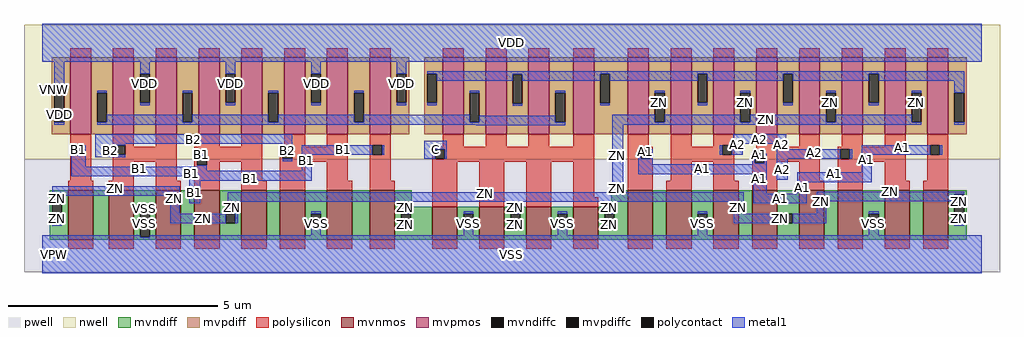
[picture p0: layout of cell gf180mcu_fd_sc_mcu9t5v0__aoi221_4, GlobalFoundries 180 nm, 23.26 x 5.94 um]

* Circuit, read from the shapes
.subckt gf180mcu_fd_sc_mcu9t5v0__aoi221_4 A1 A2 B1 B2 C ZN VDD VNW VPW VSS
XM1 n1 B1 ZN VPW nfet_06v0 w=1.185u l=0.6u
XM2 VSS B2 n1 VPW nfet_06v0 w=1.185u l=0.6u
XM3 n2 B2 VSS VPW nfet_06v0 w=1.185u l=0.6u
XM4 ZN B1 n2 VPW nfet_06v0 w=1.185u l=0.6u
XM5 n3 B1 ZN VPW nfet_06v0 w=1.185u l=0.6u
XM6 VSS B2 n3 VPW nfet_06v0 w=1.185u l=0.6u
XM7 n4 B2 VSS VPW nfet_06v0 w=1.185u l=0.6u
XM8 ZN B1 n4 VPW nfet_06v0 w=1.185u l=0.6u
XM9 VSS C ZN VPW nfet_06v0 w=0.79u l=0.6u m=4
XM10 n5 A1 ZN VPW nfet_06v0 w=1.185u l=0.6u
XM11 VSS A2 n5 VPW nfet_06v0 w=1.185u l=0.6u
XM12 n6 A2 VSS VPW nfet_06v0 w=1.185u l=0.6u
XM13 ZN A1 n6 VPW nfet_06v0 w=1.185u l=0.6u
XM14 n7 A1 ZN VPW nfet_06v0 w=1.185u l=0.6u
XM15 VSS A2 n7 VPW nfet_06v0 w=1.185u l=0.6u
XM16 n8 A2 VSS VPW nfet_06v0 w=1.185u l=0.6u
XM17 ZN A1 n8 VPW nfet_06v0 w=1.185u l=0.6u
XM18 n9 B1 VDD VNW pfet_06v0 w=1.83u l=0.5u m=4
XM19 VDD B2 n9 VNW pfet_06v0 w=1.83u l=0.5u m=4
XM20 n9 C n10 VNW pfet_06v0 w=1.83u l=0.5u m=4
XM21 ZN A1 n10 VNW pfet_06v0 w=1.83u l=0.5u m=4
XM22 n10 A2 ZN VNW pfet_06v0 w=1.83u l=0.5u m=4
.ends

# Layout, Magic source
magic
tech gf180mcuD
magscale 1 10
<< nwell >>
rect -86 453 4566 1094
<< pwell >>
rect -86 -86 4566 453
<< mvnmos >>
rect 124 69 244 306
rect 318 69 438 306
rect 542 69 662 306
rect 726 69 846 306
rect 950 69 1070 306
rect 1134 69 1254 306
rect 1358 69 1478 306
rect 1562 69 1682 306
rect 1860 69 1980 227
rect 2084 69 2204 227
rect 2308 69 2428 227
rect 2532 69 2652 227
rect 2792 69 2912 306
rect 2976 69 3096 306
rect 3200 69 3320 306
rect 3384 69 3504 306
rect 3608 69 3728 306
rect 3792 69 3912 306
rect 4016 69 4136 306
rect 4200 69 4320 306
<< mvpmos >>
rect 134 573 234 939
rect 338 573 438 939
rect 542 573 642 939
rect 746 573 846 939
rect 950 573 1050 939
rect 1154 573 1254 939
rect 1358 573 1458 939
rect 1562 573 1662 939
rect 1910 573 2010 939
rect 2114 573 2214 939
rect 2318 573 2418 939
rect 2532 573 2632 939
rect 2792 573 2892 939
rect 2996 573 3096 939
rect 3200 573 3300 939
rect 3404 573 3504 939
rect 3608 573 3708 939
rect 3812 573 3912 939
rect 4016 573 4116 939
rect 4220 573 4320 939
<< mvndiff >>
rect 36 287 124 306
rect 36 147 49 287
rect 95 147 124 287
rect 36 69 124 147
rect 244 69 318 306
rect 438 222 542 306
rect 438 82 467 222
rect 513 82 542 222
rect 438 69 542 82
rect 662 69 726 306
rect 846 193 950 306
rect 846 147 875 193
rect 921 147 950 193
rect 846 69 950 147
rect 1070 69 1134 306
rect 1254 193 1358 306
rect 1254 147 1283 193
rect 1329 147 1358 193
rect 1254 69 1358 147
rect 1478 69 1562 306
rect 1682 227 1762 306
rect 2712 227 2792 306
rect 1682 193 1860 227
rect 1682 147 1711 193
rect 1757 147 1860 193
rect 1682 69 1860 147
rect 1980 193 2084 227
rect 1980 147 2009 193
rect 2055 147 2084 193
rect 1980 69 2084 147
rect 2204 193 2308 227
rect 2204 147 2233 193
rect 2279 147 2308 193
rect 2204 69 2308 147
rect 2428 193 2532 227
rect 2428 147 2457 193
rect 2503 147 2532 193
rect 2428 69 2532 147
rect 2652 193 2792 227
rect 2652 147 2681 193
rect 2727 147 2792 193
rect 2652 69 2792 147
rect 2912 69 2976 306
rect 3096 193 3200 306
rect 3096 147 3125 193
rect 3171 147 3200 193
rect 3096 69 3200 147
rect 3320 69 3384 306
rect 3504 193 3608 306
rect 3504 147 3533 193
rect 3579 147 3608 193
rect 3504 69 3608 147
rect 3728 69 3792 306
rect 3912 193 4016 306
rect 3912 147 3941 193
rect 3987 147 4016 193
rect 3912 69 4016 147
rect 4136 69 4200 306
rect 4320 287 4408 306
rect 4320 147 4349 287
rect 4395 147 4408 287
rect 4320 69 4408 147
<< mvpdiff >>
rect 46 769 134 939
rect 46 629 59 769
rect 105 629 134 769
rect 46 573 134 629
rect 234 769 338 939
rect 234 629 263 769
rect 309 629 338 769
rect 234 573 338 629
rect 438 861 542 939
rect 438 721 467 861
rect 513 721 542 861
rect 438 573 542 721
rect 642 769 746 939
rect 642 629 671 769
rect 717 629 746 769
rect 642 573 746 629
rect 846 861 950 939
rect 846 721 875 861
rect 921 721 950 861
rect 846 573 950 721
rect 1050 769 1154 939
rect 1050 629 1079 769
rect 1125 629 1154 769
rect 1050 573 1154 629
rect 1254 861 1358 939
rect 1254 721 1283 861
rect 1329 721 1358 861
rect 1254 573 1358 721
rect 1458 769 1562 939
rect 1458 629 1487 769
rect 1533 629 1562 769
rect 1458 573 1562 629
rect 1662 861 1750 939
rect 1662 721 1691 861
rect 1737 721 1750 861
rect 1662 573 1750 721
rect 1822 861 1910 939
rect 1822 721 1835 861
rect 1881 721 1910 861
rect 1822 573 1910 721
rect 2010 769 2114 939
rect 2010 629 2039 769
rect 2085 629 2114 769
rect 2010 573 2114 629
rect 2214 858 2318 939
rect 2214 718 2243 858
rect 2289 718 2318 858
rect 2214 573 2318 718
rect 2418 769 2532 939
rect 2418 629 2447 769
rect 2493 629 2532 769
rect 2418 573 2532 629
rect 2632 860 2792 939
rect 2632 720 2661 860
rect 2707 720 2792 860
rect 2632 573 2792 720
rect 2892 769 2996 939
rect 2892 629 2921 769
rect 2967 629 2996 769
rect 2892 573 2996 629
rect 3096 861 3200 939
rect 3096 721 3125 861
rect 3171 721 3200 861
rect 3096 573 3200 721
rect 3300 769 3404 939
rect 3300 629 3329 769
rect 3375 629 3404 769
rect 3300 573 3404 629
rect 3504 861 3608 939
rect 3504 721 3533 861
rect 3579 721 3608 861
rect 3504 573 3608 721
rect 3708 769 3812 939
rect 3708 629 3737 769
rect 3783 629 3812 769
rect 3708 573 3812 629
rect 3912 861 4016 939
rect 3912 721 3941 861
rect 3987 721 4016 861
rect 3912 573 4016 721
rect 4116 769 4220 939
rect 4116 629 4145 769
rect 4191 629 4220 769
rect 4116 573 4220 629
rect 4320 769 4408 939
rect 4320 629 4349 769
rect 4395 629 4408 769
rect 4320 573 4408 629
<< mvndiffc >>
rect 49 147 95 287
rect 467 82 513 222
rect 875 147 921 193
rect 1283 147 1329 193
rect 1711 147 1757 193
rect 2009 147 2055 193
rect 2233 147 2279 193
rect 2457 147 2503 193
rect 2681 147 2727 193
rect 3125 147 3171 193
rect 3533 147 3579 193
rect 3941 147 3987 193
rect 4349 147 4395 287
<< mvpdiffc >>
rect 59 629 105 769
rect 263 629 309 769
rect 467 721 513 861
rect 671 629 717 769
rect 875 721 921 861
rect 1079 629 1125 769
rect 1283 721 1329 861
rect 1487 629 1533 769
rect 1691 721 1737 861
rect 1835 721 1881 861
rect 2039 629 2085 769
rect 2243 718 2289 858
rect 2447 629 2493 769
rect 2661 720 2707 860
rect 2921 629 2967 769
rect 3125 721 3171 861
rect 3329 629 3375 769
rect 3533 721 3579 861
rect 3737 629 3783 769
rect 3941 721 3987 861
rect 4145 629 4191 769
rect 4349 629 4395 769
<< polysilicon >>
rect 134 939 234 983
rect 338 939 438 983
rect 542 939 642 983
rect 746 939 846 983
rect 950 939 1050 983
rect 1154 939 1254 983
rect 1358 939 1458 983
rect 1562 939 1662 983
rect 1910 939 2010 983
rect 2114 939 2214 983
rect 2318 939 2418 983
rect 2532 939 2632 983
rect 2792 939 2892 983
rect 2996 939 3096 983
rect 3200 939 3300 983
rect 3404 939 3504 983
rect 3608 939 3708 983
rect 3812 939 3912 983
rect 4016 939 4116 983
rect 4220 939 4320 983
rect 134 520 234 573
rect 134 474 151 520
rect 197 474 234 520
rect 134 350 234 474
rect 338 520 438 573
rect 338 474 351 520
rect 397 513 438 520
rect 542 513 642 573
rect 746 513 846 573
rect 950 513 1050 573
rect 1154 513 1254 573
rect 1358 513 1458 573
rect 397 474 642 513
rect 338 441 642 474
rect 338 350 438 441
rect 124 306 244 350
rect 318 306 438 350
rect 542 350 642 441
rect 726 469 1050 513
rect 726 423 739 469
rect 785 441 1050 469
rect 785 423 846 441
rect 542 306 662 350
rect 726 306 846 423
rect 950 350 1050 441
rect 1134 500 1458 513
rect 1134 454 1147 500
rect 1193 454 1458 500
rect 1134 441 1458 454
rect 950 306 1070 350
rect 1134 306 1254 441
rect 1358 350 1458 441
rect 1562 520 1662 573
rect 1562 474 1575 520
rect 1621 474 1662 520
rect 1910 513 2010 573
rect 2114 513 2214 573
rect 2318 513 2418 573
rect 2532 513 2632 573
rect 1562 350 1662 474
rect 1860 500 2632 513
rect 1860 454 1873 500
rect 1919 454 2632 500
rect 1860 441 2632 454
rect 1358 306 1478 350
rect 1562 306 1682 350
rect 1860 227 1980 441
rect 2084 227 2204 441
rect 2308 227 2428 441
rect 2532 271 2632 441
rect 2792 513 2892 573
rect 2996 513 3096 573
rect 3200 520 3300 573
rect 3200 513 3241 520
rect 2792 500 2912 513
rect 2792 454 2853 500
rect 2899 454 2912 500
rect 2792 306 2912 454
rect 2996 474 3241 513
rect 3287 474 3300 520
rect 3404 513 3504 573
rect 3608 513 3708 573
rect 3812 513 3912 573
rect 4016 513 4116 573
rect 3404 493 3708 513
rect 2996 441 3300 474
rect 2996 350 3096 441
rect 2976 306 3096 350
rect 3200 350 3300 441
rect 3384 480 3708 493
rect 3384 434 3397 480
rect 3443 441 3708 480
rect 3443 434 3504 441
rect 3200 306 3320 350
rect 3384 306 3504 434
rect 3608 350 3708 441
rect 3792 500 4116 513
rect 3792 454 3805 500
rect 3851 454 4116 500
rect 3792 441 4116 454
rect 3608 306 3728 350
rect 3792 306 3912 441
rect 4016 350 4116 441
rect 4220 520 4320 573
rect 4220 474 4233 520
rect 4279 474 4320 520
rect 4220 350 4320 474
rect 4016 306 4136 350
rect 4200 306 4320 350
rect 2532 227 2652 271
rect 124 25 244 69
rect 318 25 438 69
rect 542 25 662 69
rect 726 25 846 69
rect 950 25 1070 69
rect 1134 25 1254 69
rect 1358 25 1478 69
rect 1562 25 1682 69
rect 1860 25 1980 69
rect 2084 25 2204 69
rect 2308 25 2428 69
rect 2532 25 2652 69
rect 2792 25 2912 69
rect 2976 25 3096 69
rect 3200 25 3320 69
rect 3384 25 3504 69
rect 3608 25 3728 69
rect 3792 25 3912 69
rect 4016 25 4136 69
rect 4200 25 4320 69
<< polycontact >>
rect 151 474 197 520
rect 351 474 397 520
rect 739 423 785 469
rect 1147 454 1193 500
rect 1575 474 1621 520
rect 1873 454 1919 500
rect 2853 454 2899 500
rect 3241 474 3287 520
rect 3397 434 3443 480
rect 3805 454 3851 500
rect 4233 474 4279 520
<< metal1 >>
rect 0 918 4480 1098
rect 59 769 105 918
rect 467 861 513 918
rect 59 618 105 629
rect 263 769 309 780
rect 875 861 921 918
rect 467 710 513 721
rect 671 769 717 780
rect 309 629 671 664
rect 1283 861 1329 918
rect 875 710 921 721
rect 1079 769 1125 780
rect 717 629 1079 664
rect 1691 861 1737 918
rect 1283 710 1329 721
rect 1487 769 1533 780
rect 1125 629 1487 664
rect 1691 710 1737 721
rect 1835 861 4395 872
rect 1881 860 3125 861
rect 1881 858 2661 860
rect 1881 826 2243 858
rect 1835 710 1881 721
rect 2039 769 2085 780
rect 1533 629 2039 664
rect 2289 826 2661 858
rect 2243 707 2289 718
rect 2447 769 2493 780
rect 2085 629 2447 661
rect 2707 826 3125 860
rect 2661 709 2707 720
rect 2921 769 2967 780
rect 263 618 2493 629
rect 2068 615 2493 618
rect 2718 629 2921 664
rect 3171 826 3533 861
rect 3125 710 3171 721
rect 3329 769 3375 780
rect 2967 629 3329 664
rect 3579 826 3941 861
rect 3533 710 3579 721
rect 3737 769 3783 780
rect 3375 629 3737 664
rect 3987 826 4395 861
rect 3941 710 3987 721
rect 4145 769 4191 780
rect 3783 629 4145 664
rect 2718 618 4191 629
rect 4349 769 4395 826
rect 4349 618 4395 629
rect 254 526 1193 572
rect 254 520 397 526
rect 140 474 151 520
rect 197 474 208 520
rect 140 417 208 474
rect 254 474 351 520
rect 1147 500 1193 526
rect 254 463 397 474
rect 739 469 785 480
rect 1147 443 1193 454
rect 1239 474 1575 520
rect 1621 474 1632 520
rect 1822 500 1930 542
rect 739 417 785 423
rect 140 397 785 417
rect 1239 397 1285 474
rect 1822 454 1873 500
rect 1919 454 1930 500
rect 140 371 1285 397
rect 702 351 1285 371
rect 49 287 656 325
rect 95 279 656 287
rect 49 136 95 147
rect 467 222 513 233
rect 0 82 467 90
rect 610 193 656 279
rect 702 242 754 351
rect 2718 296 2770 618
rect 3294 526 3548 572
rect 3294 520 3340 526
rect 2842 454 2853 500
rect 2899 454 2910 500
rect 3230 474 3241 520
rect 3287 474 3340 520
rect 3502 500 3548 526
rect 2842 428 2910 454
rect 3386 434 3397 480
rect 3443 434 3454 480
rect 3386 428 3454 434
rect 2842 382 3454 428
rect 886 250 3344 296
rect 886 193 932 250
rect 610 147 875 193
rect 921 147 932 193
rect 1283 193 1329 204
rect 1283 90 1329 147
rect 1711 193 1757 250
rect 1711 136 1757 147
rect 2009 193 2055 204
rect 2009 90 2055 147
rect 2233 193 2279 250
rect 2233 136 2279 147
rect 2457 193 2503 204
rect 2457 90 2503 147
rect 2681 193 2727 250
rect 2681 136 2727 147
rect 3125 193 3171 204
rect 3298 193 3344 250
rect 3390 288 3454 382
rect 3502 454 3805 500
rect 3851 454 3862 500
rect 3908 474 4233 520
rect 4279 474 4290 520
rect 3502 354 3554 454
rect 3908 390 3954 474
rect 3600 344 3954 390
rect 3600 288 3646 344
rect 3390 242 3646 288
rect 3692 287 4395 298
rect 3692 252 4349 287
rect 3692 193 3738 252
rect 3298 147 3533 193
rect 3579 147 3738 193
rect 3941 193 3987 204
rect 3125 90 3171 147
rect 3941 90 3987 147
rect 4349 136 4395 147
rect 513 82 4480 90
rect 0 -90 4480 82
<< labels >>
flabel metal1 s 3908 500 4290 520 0 FreeSans 200 0 0 0 A1
port 1 nsew default input
flabel metal1 s 3294 526 3548 572 0 FreeSans 200 0 0 0 A2
port 2 nsew default input
flabel metal1 s 1239 480 1632 520 0 FreeSans 200 0 0 0 B1
port 3 nsew default input
flabel metal1 s 254 526 1193 572 0 FreeSans 200 0 0 0 B2
port 4 nsew default input
flabel metal1 s 1822 454 1930 542 0 FreeSans 200 0 0 0 C
port 5 nsew default input
flabel metal1 s 0 918 4480 1098 0 FreeSans 200 0 0 0 VDD
port 7 nsew power bidirectional abutment
flabel metal1 s 467 204 513 233 0 FreeSans 200 0 0 0 VSS
port 10 nsew ground bidirectional abutment
flabel metal1 s 4145 664 4191 780 0 FreeSans 200 0 0 0 ZN
port 6 nsew default output
flabel nwell s 10 734 110 834 0 FreeSans 400 0 0 0 VNW
port 8 nsew power bidirectional
flabel pwell s 10 -50 110 50 0 FreeSans 400 0 0 0 VPW
port 9 nsew ground bidirectional
rlabel metal1 s 3908 480 4290 500 1 A1
port 1 nsew default input
rlabel metal1 s 2842 480 2910 500 1 A1
port 1 nsew default input
rlabel metal1 s 3908 474 4290 480 1 A1
port 1 nsew default input
rlabel metal1 s 3386 474 3454 480 1 A1
port 1 nsew default input
rlabel metal1 s 2842 474 2910 480 1 A1
port 1 nsew default input
rlabel metal1 s 3908 428 3954 474 1 A1
port 1 nsew default input
rlabel metal1 s 3386 428 3454 474 1 A1
port 1 nsew default input
rlabel metal1 s 2842 428 2910 474 1 A1
port 1 nsew default input
rlabel metal1 s 3908 390 3954 428 1 A1
port 1 nsew default input
rlabel metal1 s 2842 390 3454 428 1 A1
port 1 nsew default input
rlabel metal1 s 3600 382 3954 390 1 A1
port 1 nsew default input
rlabel metal1 s 2842 382 3454 390 1 A1
port 1 nsew default input
rlabel metal1 s 3600 344 3954 382 1 A1
port 1 nsew default input
rlabel metal1 s 3390 344 3454 382 1 A1
port 1 nsew default input
rlabel metal1 s 3600 288 3646 344 1 A1
port 1 nsew default input
rlabel metal1 s 3390 288 3454 344 1 A1
port 1 nsew default input
rlabel metal1 s 3390 242 3646 288 1 A1
port 1 nsew default input
rlabel metal1 s 3502 520 3548 526 1 A2
port 2 nsew default input
rlabel metal1 s 3294 520 3340 526 1 A2
port 2 nsew default input
rlabel metal1 s 3502 500 3548 520 1 A2
port 2 nsew default input
rlabel metal1 s 3230 500 3340 520 1 A2
port 2 nsew default input
rlabel metal1 s 3502 474 3862 500 1 A2
port 2 nsew default input
rlabel metal1 s 3230 474 3340 500 1 A2
port 2 nsew default input
rlabel metal1 s 3502 454 3862 474 1 A2
port 2 nsew default input
rlabel metal1 s 3502 354 3554 454 1 A2
port 2 nsew default input
rlabel metal1 s 140 480 208 520 1 B1
port 3 nsew default input
rlabel metal1 s 1239 474 1632 480 1 B1
port 3 nsew default input
rlabel metal1 s 739 474 785 480 1 B1
port 3 nsew default input
rlabel metal1 s 140 474 208 480 1 B1
port 3 nsew default input
rlabel metal1 s 1239 417 1285 474 1 B1
port 3 nsew default input
rlabel metal1 s 739 417 785 474 1 B1
port 3 nsew default input
rlabel metal1 s 140 417 208 474 1 B1
port 3 nsew default input
rlabel metal1 s 1239 397 1285 417 1 B1
port 3 nsew default input
rlabel metal1 s 140 397 785 417 1 B1
port 3 nsew default input
rlabel metal1 s 140 371 1285 397 1 B1
port 3 nsew default input
rlabel metal1 s 702 351 1285 371 1 B1
port 3 nsew default input
rlabel metal1 s 702 242 754 351 1 B1
port 3 nsew default input
rlabel metal1 s 1147 463 1193 526 1 B2
port 4 nsew default input
rlabel metal1 s 254 463 397 526 1 B2
port 4 nsew default input
rlabel metal1 s 1147 443 1193 463 1 B2
port 4 nsew default input
rlabel metal1 s 3737 664 3783 780 1 ZN
port 6 nsew default output
rlabel metal1 s 3329 664 3375 780 1 ZN
port 6 nsew default output
rlabel metal1 s 2921 664 2967 780 1 ZN
port 6 nsew default output
rlabel metal1 s 2718 618 4191 664 1 ZN
port 6 nsew default output
rlabel metal1 s 2718 325 2770 618 1 ZN
port 6 nsew default output
rlabel metal1 s 2718 298 2770 325 1 ZN
port 6 nsew default output
rlabel metal1 s 49 298 656 325 1 ZN
port 6 nsew default output
rlabel metal1 s 3692 296 4395 298 1 ZN
port 6 nsew default output
rlabel metal1 s 2718 296 2770 298 1 ZN
port 6 nsew default output
rlabel metal1 s 49 296 656 298 1 ZN
port 6 nsew default output
rlabel metal1 s 3692 279 4395 296 1 ZN
port 6 nsew default output
rlabel metal1 s 886 279 3344 296 1 ZN
port 6 nsew default output
rlabel metal1 s 49 279 656 296 1 ZN
port 6 nsew default output
rlabel metal1 s 3692 252 4395 279 1 ZN
port 6 nsew default output
rlabel metal1 s 886 252 3344 279 1 ZN
port 6 nsew default output
rlabel metal1 s 610 252 656 279 1 ZN
port 6 nsew default output
rlabel metal1 s 49 252 95 279 1 ZN
port 6 nsew default output
rlabel metal1 s 4349 250 4395 252 1 ZN
port 6 nsew default output
rlabel metal1 s 3692 250 3738 252 1 ZN
port 6 nsew default output
rlabel metal1 s 886 250 3344 252 1 ZN
port 6 nsew default output
rlabel metal1 s 610 250 656 252 1 ZN
port 6 nsew default output
rlabel metal1 s 49 250 95 252 1 ZN
port 6 nsew default output
rlabel metal1 s 4349 193 4395 250 1 ZN
port 6 nsew default output
rlabel metal1 s 3692 193 3738 250 1 ZN
port 6 nsew default output
rlabel metal1 s 3298 193 3344 250 1 ZN
port 6 nsew default output
rlabel metal1 s 2681 193 2727 250 1 ZN
port 6 nsew default output
rlabel metal1 s 2233 193 2279 250 1 ZN
port 6 nsew default output
rlabel metal1 s 1711 193 1757 250 1 ZN
port 6 nsew default output
rlabel metal1 s 886 193 932 250 1 ZN
port 6 nsew default output
rlabel metal1 s 610 193 656 250 1 ZN
port 6 nsew default output
rlabel metal1 s 49 193 95 250 1 ZN
port 6 nsew default output
rlabel metal1 s 4349 147 4395 193 1 ZN
port 6 nsew default output
rlabel metal1 s 3298 147 3738 193 1 ZN
port 6 nsew default output
rlabel metal1 s 2681 147 2727 193 1 ZN
port 6 nsew default output
rlabel metal1 s 2233 147 2279 193 1 ZN
port 6 nsew default output
rlabel metal1 s 1711 147 1757 193 1 ZN
port 6 nsew default output
rlabel metal1 s 610 147 932 193 1 ZN
port 6 nsew default output
rlabel metal1 s 49 147 95 193 1 ZN
port 6 nsew default output
rlabel metal1 s 4349 136 4395 147 1 ZN
port 6 nsew default output
rlabel metal1 s 2681 136 2727 147 1 ZN
port 6 nsew default output
rlabel metal1 s 2233 136 2279 147 1 ZN
port 6 nsew default output
rlabel metal1 s 1711 136 1757 147 1 ZN
port 6 nsew default output
rlabel metal1 s 49 136 95 147 1 ZN
port 6 nsew default output
rlabel metal1 s 1691 710 1737 918 1 VDD
port 7 nsew power bidirectional abutment
rlabel metal1 s 1283 710 1329 918 1 VDD
port 7 nsew power bidirectional abutment
rlabel metal1 s 875 710 921 918 1 VDD
port 7 nsew power bidirectional abutment
rlabel metal1 s 467 710 513 918 1 VDD
port 7 nsew power bidirectional abutment
rlabel metal1 s 59 710 105 918 1 VDD
port 7 nsew power bidirectional abutment
rlabel metal1 s 59 618 105 710 1 VDD
port 7 nsew power bidirectional abutment
rlabel metal1 s 3941 90 3987 204 1 VSS
port 10 nsew ground bidirectional abutment
rlabel metal1 s 3125 90 3171 204 1 VSS
port 10 nsew ground bidirectional abutment
rlabel metal1 s 2457 90 2503 204 1 VSS
port 10 nsew ground bidirectional abutment
rlabel metal1 s 2009 90 2055 204 1 VSS
port 10 nsew ground bidirectional abutment
rlabel metal1 s 1283 90 1329 204 1 VSS
port 10 nsew ground bidirectional abutment
rlabel metal1 s 467 90 513 204 1 VSS
port 10 nsew ground bidirectional abutment
rlabel metal1 s 0 -90 4480 90 1 VSS
port 10 nsew ground bidirectional abutment
<< properties >>
string FIXED_BBOX 0 0 4480 1008
string GDS_END 1235418
string GDS_FILE $PDKPATH/libs.ref/gf180mcu_fd_sc_mcu9t5v0/gds/gf180mcu_fd_sc_mcu9t5v0.gds
string GDS_START 1225532
string LEFclass core
string LEFsite GF018hv5v_green_sc9
string LEFsymmetry X Y
<< end >>
